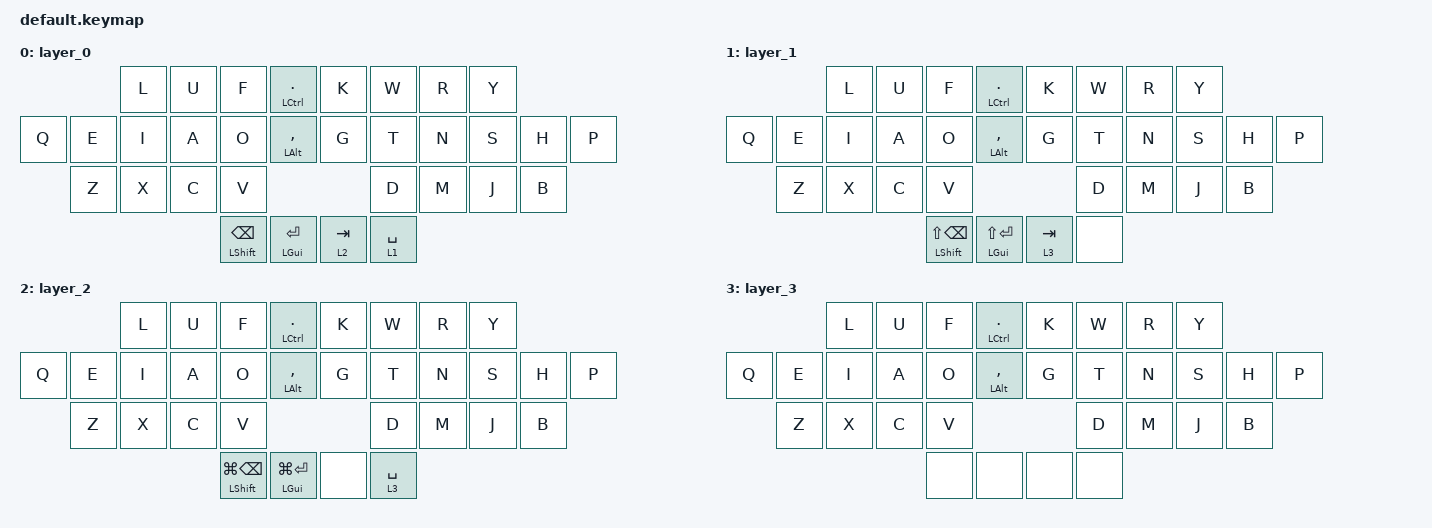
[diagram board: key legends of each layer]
#include <behaviors.dtsi>
#include <dt-bindings/zmk/keys.h>
#include <dt-bindings/zmk/bt.h>

&mt {
    tapping-term-ms = <175>;
    flavor = "tap-preferred";
};

&lt {
    tapping-term-ms = <175>;
    flavor = "balanced";
};

/ {
   keymap {
      compatible = "zmk,keymap";

      layer_0 {
         bindings = <
                        &kp L       &kp U       &kp F       &mt LCTRL DOT       &kp K       &kp W       &kp R       &kp Y
&kp Q       &kp E       &kp I       &kp A       &kp O       &mt LALT COMMA      &kp G       &kp T       &kp N       &kp S       &kp H       &kp P
            &kp Z       &kp X       &kp C       &kp V                                       &kp D       &kp M       &kp J       &kp B
                                             &mt LSHFT BSPC &mt LGUI ENTER      &lt 2 TAB   &lt 1 SPACE
         >;
      };

      layer_1 {
         bindings = <
                        &kp L       &kp U       &kp F       &mt LCTRL DOT       &kp K       &kp W       &kp R       &kp Y
&kp Q       &kp E       &kp I       &kp A       &kp O       &mt LALT COMMA      &kp G       &kp T       &kp N       &kp S       &kp H       &kp P
            &kp Z       &kp X       &kp C       &kp V                                       &kp D       &kp M       &kp J       &kp B
                                    &mt LSHFT LS(BSPC) &mt LGUI LS(ENTER)       &lt 3 TAB   &none
         >;
      };

      layer_2 {
         bindings = <
                        &kp L       &kp U       &kp F       &mt LCTRL DOT       &kp K       &kp W       &kp R       &kp Y
&kp Q       &kp E       &kp I       &kp A       &kp O       &mt LALT COMMA      &kp G       &kp T       &kp N       &kp S       &kp H       &kp P
            &kp Z       &kp X       &kp C       &kp V                                       &kp D       &kp M       &kp J       &kp B
                                    &mt LSHFT LG(BSPC) &mt LGUI LG(ENTER)       &none       &lt 3 SPACE
         >;
      };

      layer_3 {
         bindings = <
                        &kp L       &kp U       &kp F       &mt LCTRL DOT       &kp K       &kp W       &kp R       &kp Y
&kp Q       &kp E       &kp I       &kp A       &kp O       &mt LALT COMMA      &kp G       &kp T       &kp N       &kp S       &kp H       &kp P
            &kp Z       &kp X       &kp C       &kp V                                       &kp D       &kp M       &kp J       &kp B
                                                &none       &none               &none       &none
         >;
      };
   };
};
